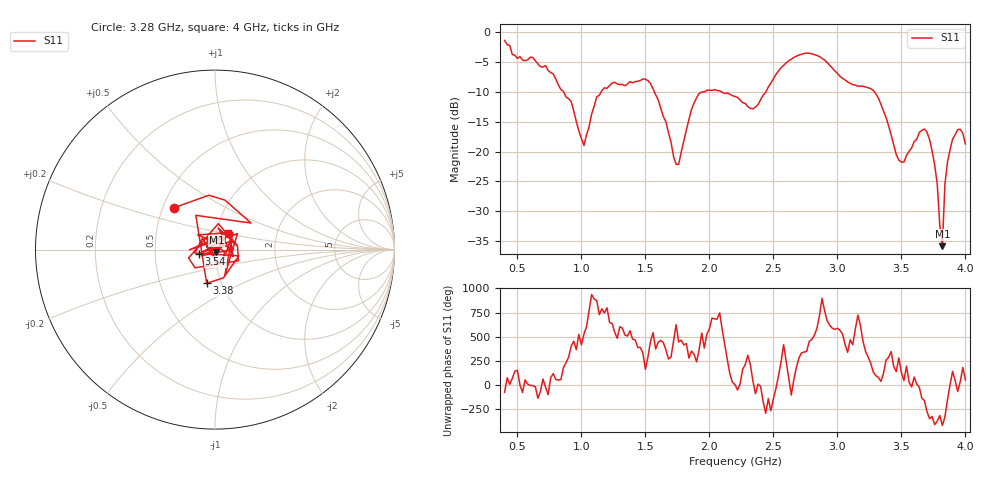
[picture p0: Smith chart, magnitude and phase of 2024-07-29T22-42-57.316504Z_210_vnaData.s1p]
!Created with skrf (http://scikit-rf.org).
# Hz S RI R 50.0
!freq ReS11 ImS11
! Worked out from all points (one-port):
!   181 points, 400 MHz to 4 GHz, reference 50 ohm
!   lowest |S11| = -35.8 dB at 3.82 GHz (marker M1), VSWR 1.03, Z = 50.8 - j1.42 ohm
!   |S11| at or under -10 dB: 1.57 GHz to 1.961 GHz (391.1 MHz wide, 22.2 % of centre); 2.094 GHz to 2.442 GHz (347.3 MHz wide, 15.3 % of centre); 3.289 GHz to end of sweep (the widest 3 of 4)
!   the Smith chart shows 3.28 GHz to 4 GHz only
!   S11 on the Smith chart (normalised r, x): 3.28 GHz: 0.57, +0.30; 3.38 GHz: 0.85, -0.33; 3.54 GHz: 0.83, -0.04; 4 GHz: 1.13, +0.21
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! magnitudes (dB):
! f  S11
! 400 MHz  -1.4
! 720 MHz  -5.6
! 860 MHz  -9.9
! 920 MHz  -11.6
! 1.02 GHz  -19.0
! 1.12 GHz  -10.8
! 1.3 GHz  -8.8
! 1.54 GHz  -8.6
! 1.76 GHz  -22.1
! 1.86 GHz  -13.0
! 1.92 GHz  -10.3
! 2.2 GHz  -10.8
! 2.34 GHz  -12.8
! 2.66 GHz  -4.2
! 2.84 GHz  -3.9
! 3.1 GHz  -8.6
! 3.28 GHz  -9.8
! 3.38 GHz  -14.3
! 3.48 GHz  -21.4
! 3.54 GHz  -20.6
! 3.56 GHz  -20.0
! 3.7 GHz  -16.7
! 3.78 GHz  -25.4
! 3.82 GHz  -35.8
! 3.84 GHz  -25.5
! 3.88 GHz  -19.7
! 3.94 GHz  -16.3
! 4 GHz  -18.7
